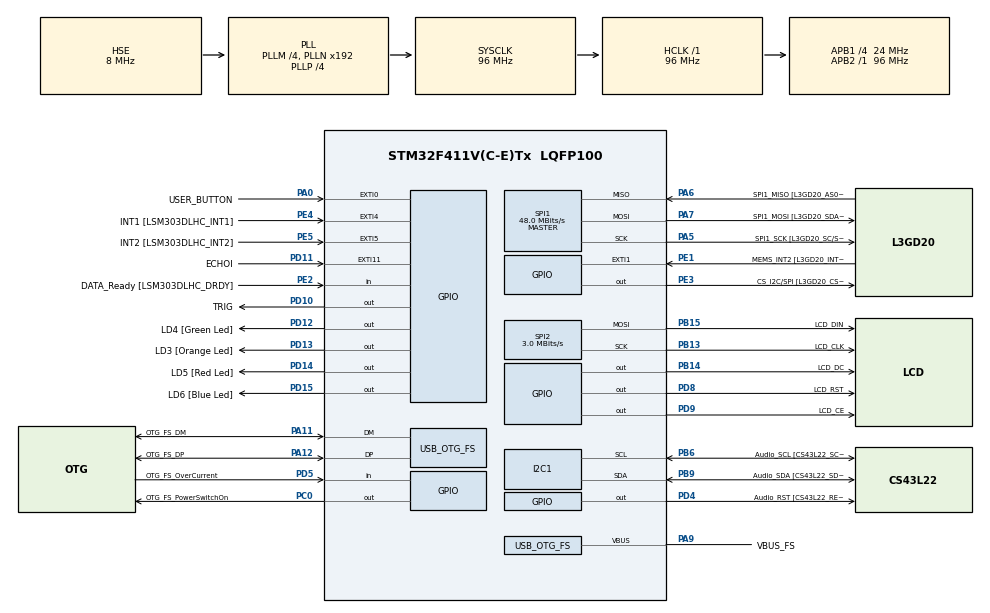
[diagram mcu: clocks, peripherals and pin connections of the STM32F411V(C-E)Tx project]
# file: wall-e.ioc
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Mcu.Family=STM32F4
Mcu.Name=STM32F411V(C-E)Tx
Mcu.Package=LQFP100
NVIC.EXTI0_IRQn=true\:0\:0\:false\:false\:true\:true\:true\:true
NVIC.EXTI15_10_IRQn=true\:0\:0\:false\:false\:true\:true\:true\:true
NVIC.OTG_FS_IRQn=true\:0\:0\:false\:false\:true\:true\:true\:true
NVIC.PriorityGroup=NVIC_PRIORITYGROUP_0
NVIC.TIM1_UP_TIM10_IRQn=true\:0\:0\:false\:false\:true\:true\:true\:true
PA0-WKUP.GPIO_Label=USER_BUTTON
PA0-WKUP.Signal=GPXTI0
PA10.GPIO_Label=OTG_FS_ID
PA10.Signal=USB_OTG_FS_ID
PA11.GPIO_Label=OTG_FS_DM
PA11.Mode=Host_Only
PA11.Signal=USB_OTG_FS_DM
PA12.GPIO_Label=OTG_FS_DP
PA12.Mode=Host_Only
PA12.Signal=USB_OTG_FS_DP
PA13.GPIO_Label=SWDIO
PA13.Mode=Serial_Wire
PA13.Signal=SYS_JTMS-SWDIO
PA14.GPIO_Label=SWCLK
PA14.Mode=Serial_Wire
PA14.Signal=SYS_JTCK-SWCLK
PA4.GPIO_Label=I2S3_WS [CS43L22_LRCK]
PA4.GPIO_Mode=GPIO_MODE_AF_PP
PA4.GPIO_PuPd=GPIO_NOPULL
PA4.GPIO_Speed=GPIO_SPEED_FREQ_LOW
PA4.Signal=I2S3_WS
PA5.GPIO_Label=SPI1_SCK [L3GD20_SC/SPC]
PA5.Mode=Full_Duplex_Master
PA5.Signal=SPI1_SCK
PA6.GPIO_Label=SPI1_MISO [L3GD20_AS0/SDO]
PA6.Mode=Full_Duplex_Master
PA6.Signal=SPI1_MISO
PA7.GPIO_Label=SPI1_MOSI [L3GD20_SDA/SDI/SDO]
PA7.Mode=Full_Duplex_Master
PA7.Signal=SPI1_MOSI
PA9.GPIO_Label=VBUS_FS
PA9.Mode=Activate_VBUS
PA9.Signal=USB_OTG_FS_VBUS
PB10.GPIO_Label=CLK_IN [MP45DT02_CLK]
PB10.Signal=I2S2_CK
PB12.Signal=I2S2_WS
PB13.GPIO_Label=LCD_CLK
PB13.Mode=TX_Only_Simplex_Unidirect_Master
PB13.Signal=SPI2_SCK
PB14.GPIO_Label=LCD_DC
PB14.Signal=GPIO_Output
PB15.GPIO_Label=LCD_DIN
PB15.Mode=TX_Only_Simplex_Unidirect_Master
PB15.Signal=SPI2_MOSI
PB3.GPIO_Label=SWO
PB3.Signal=SYS_JTDO-SWO
PB6.GPIO_Label=Audio_SCL [CS43L22_SCL]
PB6.GPIO_Mode=GPIO_MODE_AF_OD
PB6.GPIO_Pu=GPIO_PULLUP
PB6.GPIO_PuPd=GPIO_NOPULL
PB6.GPIO_Speed=GPIO_SPEED_FREQ_LOW
PB6.Mode=I2C
PB6.Signal=I2C1_SCL
PB9.GPIO_Label=Audio_SDA [CS43L22_SDA]
PB9.GPIO_Mode=GPIO_MODE_AF_OD
PB9.GPIO_Pu=GPIO_PULLUP
PB9.GPIO_PuPd=GPIO_NOPULL
PB9.GPIO_Speed=GPIO_SPEED_FREQ_LOW
PB9.Mode=I2C
PB9.Signal=I2C1_SDA
PC0.GPIO_Label=OTG_FS_PowerSwitchOn
PC0.PinState=GPIO_PIN_SET
PC0.Signal=GPIO_Output
PC10.GPIO_Label=I2S3_SCK [CS43L22_SCLK]
PC10.GPIO_Mode=GPIO_MODE_AF_PP
PC10.GPIO_PuPd=GPIO_NOPULL
PC10.GPIO_Speed=GPIO_SPEED_FREQ_LOW
PC10.Signal=I2S3_CK
PC12.GPIO_Label=I2S3_SD [CS43L22_SDIN]
PC12.GPIO_Mode=GPIO_MODE_AF_PP
PC12.GPIO_PuPd=GPIO_NOPULL
PC12.GPIO_Speed=GPIO_SPEED_FREQ_LOW
PC12.Signal=I2S3_SD
PC14-OSC32_IN.GPIO_Label=PC14-OSC32_IN
PC14-OSC32_IN.Mode=LSE-External-Oscillator
PC14-OSC32_IN.Signal=RCC_OSC32_IN
PC15-OSC32_OUT.GPIO_Label=PC15-OSC32_OUT
PC15-OSC32_OUT.Mode=LSE-External-Oscillator
PC15-OSC32_OUT.Signal=RCC_OSC32_OUT
PC3.GPIO_Label=PDM_OUT [MP45DT02_DOUT]
PC3.Signal=I2S2_SD
PC7.GPIO_Label=I2S3_MCK [CS43L22_MCLK]
PC7.GPIO_Mode=GPIO_MODE_AF_PP
PC7.GPIO_PuPd=GPIO_NOPULL
PC7.GPIO_Speed=GPIO_SPEED_FREQ_LOW
PC7.Signal=I2S3_MCK
PD10.GPIO_Label=TRIG
PD10.Signal=GPIO_Output
PD11.GPIO_Label=ECHOI
PD11.GPIO_ModeDefaultEXTI=GPIO_MODE_IT_RISING_FALLING
PD11.Signal=GPXTI11
PD12.GPIO_Label=LD4 [Green Led]
PD12.GPIO_PuPd=GPIO_NOPULL
PD12.GPIO_Speed=GPIO_SPEED_FREQ_LOW
PD12.Signal=GPIO_Output
PD13.GPIO_Label=LD3 [Orange Led]
PD13.GPIO_PuPd=GPIO_NOPULL
PD13.GPIO_Speed=GPIO_SPEED_FREQ_LOW
PD13.Signal=GPIO_Output
PD14.GPIO_Label=LD5 [Red Led]
PD14.GPIO_PuPd=GPIO_NOPULL
PD14.GPIO_Speed=GPIO_SPEED_FREQ_LOW
PD14.Signal=GPIO_Output
PD15.GPIO_Label=LD6 [Blue Led]
PD15.GPIO_PuPd=GPIO_NOPULL
PD15.GPIO_Speed=GPIO_SPEED_FREQ_LOW
PD15.Signal=GPIO_Output
PD4.GPIO_Label=Audio_RST [CS43L22_RESET]
PD4.Signal=GPIO_Output
PD5.GPIO_Label=OTG_FS_OverCurrent
PD5.Signal=GPIO_Input
PD8.GPIO_Label=LCD_RST
PD8.Signal=GPIO_Output
PD9.GPIO_Label=LCD_CE
PD9.Signal=GPIO_Output
PE1.GPIO_Label=MEMS_INT2 [L3GD20_INT2]
PE1.GPIO_ModeDefaultEXTI=GPIO_MODE_EVT_RISING
PE1.Signal=GPXTI1
PE2.GPIO_Label=DATA_Ready [LSM303DLHC_DRDY]
PE2.Signal=GPIO_Input
PE3.GPIO_Label=CS_I2C/SPI [L3GD20_CS_I2C/SPI]
PE3.Signal=GPIO_Output
PE4.GPIO_Label=INT1 [LSM303DLHC_INT1]
PE4.GPIO_ModeDefaultEXTI=GPIO_MODE_EVT_RISING
PE4.Signal=GPXTI4
PE5.GPIO_Label=INT2 [LSM303DLHC_INT2]
PE5.GPIO_ModeDefaultEXTI=GPIO_MODE_EVT_RISING
PE5.Signal=GPXTI5
PH0\ -\ OSC_IN.GPIO_Label=PH0-OSC_IN
PH0\ -\ OSC_IN.Mode=HSE-External-Oscillator
PH0\ -\ OSC_IN.Signal=RCC_OSC_IN
PH1\ -\ OSC_OUT.GPIO_Label=PH1-OSC_OUT
PH1\ -\ OSC_OUT.Mode=HSE-External-Oscillator
PH1\ -\ OSC_OUT.Signal=RCC_OSC_OUT
ProjectManager.HeapSize=0x200
ProjectManager.StackSize=0x400
ProjectManager.TargetToolchain=STM32CubeIDE
RCC.48MHZClocksFreq_Value=48000000
RCC.AHBFreq_Value=96000000
RCC.APB1CLKDivider=RCC_HCLK_DIV4
RCC.APB1Freq_Value=24000000
RCC.APB1TimFreq_Value=48000000
RCC.APB2Freq_Value=96000000
RCC.APB2TimFreq_Value=96000000
RCC.CortexFreq_Value=96000000
RCC.HCLKFreq_Value=96000000
RCC.HSE_VALUE=8000000
RCC.HSI_VALUE=16000000
RCC.PLLI2SM=5
RCC.PLLI2SN=200
RCC.PLLM=4
RCC.PLLP=RCC_PLLP_DIV4
RCC.PLLQ=8
RCC.SYSCLKFreq_VALUE=96000000
RCC.SYSCLKSource=RCC_SYSCLKSOURCE_PLLCLK
RCC.VCOOutputFreq_Value=384000000
SPI1.BaudRatePrescaler=SPI_BAUDRATEPRESCALER_2
SPI1.CalculateBaudRate=48.0 MBits/s
SPI1.Direction=SPI_DIRECTION_2LINES
SPI1.Mode=SPI_MODE_MASTER
SPI1.VirtualType=VM_MASTER
SPI2.BaudRatePrescaler=SPI_BAUDRATEPRESCALER_8
SPI2.CalculateBaudRate=3.0 MBits/s
SPI2.Direction=SPI_DIRECTION_2LINES
SPI2.Mode=SPI_MODE_MASTER
SPI2.VirtualType=VM_MASTER
TIM10.Period=10000
TIM10.Prescaler=96-1
USB_HOST.BSP.number=1
USB_HOST.USBH_HandleTypeDef=hUsbHostFS
USB_HOST.VirtualModeFS=Cdc
USB_HOST0.BSP.STBoard=false
USB_HOST0.BSP.api=Unknown
USB_HOST0.BSP.instance=PC0
USB_HOST0.BSP.ip=GPIO
USB_HOST0.BSP.mode=Output
USB_HOST0.BSP.name=Drive_VBUS_FS
USB_HOST0.BSP.solution=PC0
USB_OTG_FS.VirtualMode=Host_Only
USB_OTG_FS.phy_itface=HCD_PHY_EMBEDDED
VP_TIM10_VS_ClockSourceINT.Mode=Enable_Timer
VP_USB_HOST_VS_USB_HOST_CDC_FS.Mode=CDC_FS
board=STM32F411E-DISCO

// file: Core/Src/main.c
/* USER CODE BEGIN Header */
/**
  ******************************************************************************
  * @file           : main.c
  * @brief          : Main program body
  ******************************************************************************
  * @attention
  *
  * Copyright (c) 2022 STMicroelectronics.
  * All rights reserved.
  *
  * This software is licensed under terms that can be found in the LICENSE file
  * in the root directory of this software component.
  * If no LICENSE file comes with this software, it is provided AS-IS.
  *
  ******************************************************************************
  */
/* USER CODE END Header */
#include "main.h"
#include "usb_host.h"

/* USER CODE BEGIN Includes */
#include "lcd5110.h"
/* USER CODE END Includes */

/* USER CODE BEGIN PTD */
typedef enum state_t {
	IDLE_S,
	WAITING_FOR_ECHO_START_S,
	WAITING_FOR_ECHO_STOP_S,
	ECHO_TIMEOUT_S,
	READING_DATA_S,
	ERROR_S
} state_t;

typedef enum unit_t {
	MILLIMETERS,
	CENTIMETERS,
	METERS,
	INCHES
} unit_t;
/* USER CODE END PTD */

/* USER CODE BEGIN PD */
#define SystemCoreClockInMHz (SystemCoreClock/1000000)
#define COUNTER_PERIOD 10000
#define MEASURING_TIMEOUT_US 38000
#define TRIG_TIME_US 16
#define UPDATE_DELAY_US 500000
#define DEBOUNCE_THRESHOLD 50

#define ECHO_START_ERR_MSG "Unexpected error while waiting for ECHO to start.\n"
#define ECHO_STOP_ERR_MSG "Unexpected error while waiting for ECHO to stop.\n"
#define TIMEOUT_ERR_MSG "Too far or\nblocking\nobjects near the sensor"
/* USER CODE END PD */

I2C_HandleTypeDef hi2c1;

SPI_HandleTypeDef hspi1;
SPI_HandleTypeDef hspi2;

TIM_HandleTypeDef htim10;

/* USER CODE BEGIN PV */
volatile state_t state = IDLE_S;

volatile uint32_t echo_start;
volatile uint32_t echo_finish;
volatile uint32_t measured_time;

volatile uint32_t tim10_overflows = 0;

volatile int pressed = 0;
volatile unit_t unit = CENTIMETERS;
/* USER CODE END PV */

void SystemClock_Config(void);
static void MX_GPIO_Init(void);
static void MX_I2C1_Init(void);
static void MX_SPI1_Init(void);
static void MX_SPI2_Init(void);
static void MX_TIM10_Init(void);
void MX_USB_HOST_Process(void);

/* USER CODE BEGIN PFP */
void HAL_TIM_PeriodElapsedCallback(TIM_HandleTypeDef *htim);
inline void TIM10_reinit();
inline uint32_t get_tim10_us();
inline void udelay_TIM10(uint32_t useconds);

void HAL_GPIO_EXTI_Callback(uint16_t GPIO_Pin);
/* USER CODE END PFP */

/* USER CODE BEGIN 0 */
void HAL_TIM_PeriodElapsedCallback(TIM_HandleTypeDef *htim) {
	if (htim->Instance == TIM10) {
		++tim10_overflows;
	}
}

void TIM10_reinit() {
	HAL_TIM_Base_Stop(&htim10);
	__HAL_TIM_SET_PRESCALER(&htim10, (SystemCoreClockInMHz - 1));
	__HAL_TIM_SET_COUNTER(&htim10, 0);
	tim10_overflows = 0;
	HAL_TIM_Base_Start_IT(&htim10);
}

uint32_t get_tim10_us() {
	__HAL_TIM_DISABLE_IT(&htim10, TIM_IT_UPDATE);
	__disable_irq();
	uint32_t curr_time = tim10_overflows * COUNTER_PERIOD + __HAL_TIM_GET_COUNTER(&htim10);
	__enable_irq();
	__HAL_TIM_ENABLE_IT(&htim10, TIM_IT_UPDATE);

	return curr_time;
}

void udelay_TIM10(uint32_t useconds) {
	uint32_t start = get_tim10_us();
	while (get_tim10_us() < start + useconds) {}
}

void HAL_GPIO_EXTI_Callback(uint16_t GPIO_Pin) {
	if (GPIO_Pin == ECHOI_Pin) {
		switch (state) {
		case WAITING_FOR_ECHO_START_S: {
			echo_start =  get_tim10_us();
			state = WAITING_FOR_ECHO_STOP_S;
			break;
		}

		case WAITING_FOR_ECHO_STOP_S: {
			echo_finish = get_tim10_us();
			measured_time = echo_finish - echo_start;

			if (measured_time >= MEASURING_TIMEOUT_US) {
				state = ECHO_TIMEOUT_S;
				break;
			}

			state = READING_DATA_S;
			break;
		}

		default:
			state = ERROR_S;
		}

		return;
	}

	if (GPIO_Pin == USER_BUTTON_Pin) {
		static uint32_t last_tick;
		if (HAL_GetTick() - last_tick < DEBOUNCE_THRESHOLD) {
			return;
		}

		last_tick = HAL_GetTick();

		if (pressed) {
			unit = (unit_t)((unit + 1) % 4);
		}

		pressed = !pressed;

		return;
	}
}
/* USER CODE END 0 */

int main(void)
{
  /* USER CODE BEGIN 1 */
  inline void trig_sensor() {
	  HAL_GPIO_WritePin(TRIG_GPIO_Port, TRIG_Pin, GPIO_PIN_SET);
	  udelay_TIM10(TRIG_TIME_US);
	  HAL_GPIO_WritePin(TRIG_GPIO_Port, TRIG_Pin, GPIO_PIN_RESET);
  }

  inline uint32_t get_distance(uint32_t measured_time) {
      switch (unit) {
        case MILLIMETERS:
            return measured_time / 5.8;
        case CENTIMETERS:
            return measured_time / 58;
        case METERS:
            return measured_time / 5800;
        case INCHES:
            return measured_time / 148;
        default:
            return 0;
      }
  }

  inline char* get_unit_str() {
      switch (unit) {
        case MILLIMETERS:
            return "mm";
        case CENTIMETERS:
            return "cm";
        case METERS:
            return "m";
        case INCHES:
            return "in";
        default:
            return "unknwn";
      }
  }
  /* USER CODE END 1 */

  /* MCU Configuration--------------------------------------------------------*/

  /* Reset of all peripherals, Initializes the Flash interface and the Systick. */
  HAL_Init();

  /* Configure the system clock */
  SystemClock_Config();

  /* Initialize all configured peripherals */
  MX_GPIO_Init();
  MX_I2C1_Init();
  MX_SPI1_Init();
  MX_USB_HOST_Init();
  MX_SPI2_Init();
  MX_TIM10_Init();
  /* USER CODE BEGIN 2 */
  // Display configuration
  LCD5110_display lcd1;

  lcd1.hw_conf.spi_handle = &hspi2;
  lcd1.hw_conf.spi_cs_pin =  LCD_CE_Pin;
  lcd1.hw_conf.spi_cs_port = LCD_CE_GPIO_Port;
  lcd1.hw_conf.rst_pin =  LCD_RST_Pin;
  lcd1.hw_conf.rst_port = LCD_RST_GPIO_Port;
  lcd1.hw_conf.dc_pin =  LCD_DC_Pin;
  lcd1.hw_conf.dc_port = LCD_DC_GPIO_Port;
  lcd1.def_scr = lcd5110_def_scr;

  LCD5110_init(&lcd1.hw_conf, LCD5110_NORMAL_MODE, 0x40, 2, 3);

  // Timer initialization
  TIM10_reinit();
  /* USER CODE END 2 */

  /* Infinite loop */
  /* USER CODE BEGIN WHILE */
  while (1)
  {
	  trig_sensor();

	  state = WAITING_FOR_ECHO_START_S;

	  while (state == WAITING_FOR_ECHO_START_S && state != ERROR_S) {}

	  if (state == ERROR_S) {
		  LCD5110_clear_scr(&lcd1);
		  LCD5110_printf(&lcd1, BLACK, ECHO_START_ERR_MSG);
		  continue;
	  }

	  while (state == WAITING_FOR_ECHO_STOP_S && state != ERROR_S) {}

	  if (state == ERROR_S) {
		  LCD5110_clear_scr(&lcd1);
		  LCD5110_printf(&lcd1, BLACK, ECHO_STOP_ERR_MSG);
		  continue;
	  }

	  if (state == ECHO_TIMEOUT_S) {
		  LCD5110_clear_scr(&lcd1);
		  LCD5110_printf(&lcd1, BLACK, TIMEOUT_ERR_MSG);

	  }

	  if (state == READING_DATA_S) {
          HAL_NVIC_DisableIRQ(EXTI15_10_IRQn);
          uint32_t current_measured_time = measured_time;
          HAL_NVIC_EnableIRQ(EXTI15_10_IRQn);
		  LCD5110_clear_scr(&lcd1);
		  LCD5110_printf(&lcd1, BLACK, "Distance:\n%lu %s",
				  get_distance(current_measured_time),
				  get_unit_str());
	  }

	  udelay_TIM10(UPDATE_DELAY_US);

    /* USER CODE END WHILE */
    MX_USB_HOST_Process();

  }
}

void SystemClock_Config(void)
{
  RCC_OscInitTypeDef RCC_OscInitStruct = {0};
  RCC_ClkInitTypeDef RCC_ClkInitStruct = {0};

  /** Configure the main internal regulator output voltage
  */
  __HAL_RCC_PWR_CLK_ENABLE();
  __HAL_PWR_VOLTAGESCALING_CONFIG(PWR_REGULATOR_VOLTAGE_SCALE1);

  /** Initializes the RCC Oscillators according to the specified parameters
  * in the RCC_OscInitTypeDef structure.
  */
  RCC_OscInitStruct.OscillatorType = RCC_OSCILLATORTYPE_HSE;
  RCC_OscInitStruct.HSEState = RCC_HSE_ON;
  RCC_OscInitStruct.PLL.PLLState = RCC_PLL_ON;
  RCC_OscInitStruct.PLL.PLLSource = RCC_PLLSOURCE_HSE;
  RCC_OscInitStruct.PLL.PLLM = 4;
  RCC_OscInitStruct.PLL.PLLN = 192;
  RCC_OscInitStruct.PLL.PLLP = RCC_PLLP_DIV4;
  RCC_OscInitStruct.PLL.PLLQ = 8;
  if (HAL_RCC_OscConfig(&RCC_OscInitStruct) != HAL_OK)
  {
    Error_Handler();
  }

  /** Initializes the CPU, AHB and APB buses clocks
  */
  RCC_ClkInitStruct.ClockType = RCC_CLOCKTYPE_HCLK|RCC_CLOCKTYPE_SYSCLK
                              |RCC_CLOCKTYPE_PCLK1|RCC_CLOCKTYPE_PCLK2;
  RCC_ClkInitStruct.SYSCLKSource = RCC_SYSCLKSOURCE_PLLCLK;
  RCC_ClkInitStruct.AHBCLKDivider = RCC_SYSCLK_DIV1;
  RCC_ClkInitStruct.APB1CLKDivider = RCC_HCLK_DIV4;
  RCC_ClkInitStruct.APB2CLKDivider = RCC_HCLK_DIV1;

  if (HAL_RCC_ClockConfig(&RCC_ClkInitStruct, FLASH_LATENCY_3) != HAL_OK)
  {
    Error_Handler();
  }
}

static void MX_I2C1_Init(void)
{

  hi2c1.Instance = I2C1;
  hi2c1.Init.ClockSpeed = 100000;
  hi2c1.Init.DutyCycle = I2C_DUTYCYCLE_2;
  hi2c1.Init.OwnAddress1 = 0;
  hi2c1.Init.AddressingMode = I2C_ADDRESSINGMODE_7BIT;
  hi2c1.Init.DualAddressMode = I2C_DUALADDRESS_DISABLE;
  hi2c1.Init.OwnAddress2 = 0;
  hi2c1.Init.GeneralCallMode = I2C_GENERALCALL_DISABLE;
  hi2c1.Init.NoStretchMode = I2C_NOSTRETCH_DISABLE;
  if (HAL_I2C_Init(&hi2c1) != HAL_OK)
  {
    Error_Handler();
  }

}

static void MX_SPI1_Init(void)
{

  /* SPI1 parameter configuration*/
  hspi1.Instance = SPI1;
  hspi1.Init.Mode = SPI_MODE_MASTER;
  hspi1.Init.Direction = SPI_DIRECTION_2LINES;
  hspi1.Init.DataSize = SPI_DATASIZE_8BIT;
  hspi1.Init.CLKPolarity = SPI_POLARITY_LOW;
  hspi1.Init.CLKPhase = SPI_PHASE_1EDGE;
  hspi1.Init.NSS = SPI_NSS_SOFT;
  hspi1.Init.BaudRatePrescaler = SPI_BAUDRATEPRESCALER_2;
  hspi1.Init.FirstBit = SPI_FIRSTBIT_MSB;
  hspi1.Init.TIMode = SPI_TIMODE_DISABLE;
  hspi1.Init.CRCCalculation = SPI_CRCCALCULATION_DISABLE;
  hspi1.Init.CRCPolynomial = 10;
  if (HAL_SPI_Init(&hspi1) != HAL_OK)
  {
    Error_Handler();
  }

}

static void MX_SPI2_Init(void)
{

  /* SPI2 parameter configuration*/
  hspi2.Instance = SPI2;
  hspi2.Init.Mode = SPI_MODE_MASTER;
  hspi2.Init.Direction = SPI_DIRECTION_2LINES;
  hspi2.Init.DataSize = SPI_DATASIZE_8BIT;
  hspi2.Init.CLKPolarity = SPI_POLARITY_LOW;
  hspi2.Init.CLKPhase = SPI_PHASE_1EDGE;
  hspi2.Init.NSS = SPI_NSS_SOFT;
  hspi2.Init.BaudRatePrescaler = SPI_BAUDRATEPRESCALER_8;
  hspi2.Init.FirstBit = SPI_FIRSTBIT_MSB;
  hspi2.Init.TIMode = SPI_TIMODE_DISABLE;
  hspi2.Init.CRCCalculation = SPI_CRCCALCULATION_DISABLE;
  hspi2.Init.CRCPolynomial = 10;
  if (HAL_SPI_Init(&hspi2) != HAL_OK)
  {
    Error_Handler();
  }

}

static void MX_TIM10_Init(void)
{

  htim10.Instance = TIM10;
  htim10.Init.Prescaler = 96-1;
  htim10.Init.CounterMode = TIM_COUNTERMODE_UP;
  htim10.Init.Period = 10000;
  htim10.Init.ClockDivision = TIM_CLOCKDIVISION_DIV1;
  htim10.Init.AutoReloadPreload = TIM_AUTORELOAD_PRELOAD_DISABLE;
  if (HAL_TIM_Base_Init(&htim10) != HAL_OK)
  {
    Error_Handler();
  }

}

static void MX_GPIO_Init(void)
{
  GPIO_InitTypeDef GPIO_InitStruct = {0};

  /* GPIO Ports Clock Enable */
  __HAL_RCC_GPIOE_CLK_ENABLE();
  __HAL_RCC_GPIOC_CLK_ENABLE();
  __HAL_RCC_GPIOH_CLK_ENABLE();
  __HAL_RCC_GPIOA_CLK_ENABLE();
  __HAL_RCC_GPIOB_CLK_ENABLE();
  __HAL_RCC_GPIOD_CLK_ENABLE();

  /*Configure GPIO pin Output Level */
  HAL_GPIO_WritePin(CS_I2C_SPI_GPIO_Port, CS_I2C_SPI_Pin, GPIO_PIN_RESET);

  /*Configure GPIO pin Output Level */
  HAL_GPIO_WritePin(OTG_FS_PowerSwitchOn_GPIO_Port, OTG_FS_PowerSwitchOn_Pin, GPIO_PIN_SET);

  /*Configure GPIO pin Output Level */
  HAL_GPIO_WritePin(LCD_DC_GPIO_Port, LCD_DC_Pin, GPIO_PIN_RESET);

  /*Configure GPIO pin Output Level */
  HAL_GPIO_WritePin(GPIOD, LCD_RST_Pin|LCD_CE_Pin|TRIG_Pin|LD4_Pin
                          |LD3_Pin|LD5_Pin|LD6_Pin|Audio_RST_Pin, GPIO_PIN_RESET);

  /*Configure GPIO pin : DATA_Ready_Pin */
  GPIO_InitStruct.Pin = DATA_Ready_Pin;
  GPIO_InitStruct.Mode = GPIO_MODE_INPUT;
  GPIO_InitStruct.Pull = GPIO_NOPULL;
  HAL_GPIO_Init(DATA_Ready_GPIO_Port, &GPIO_InitStruct);

  /*Configure GPIO pin : CS_I2C_SPI_Pin */
  GPIO_InitStruct.Pin = CS_I2C_SPI_Pin;
  GPIO_InitStruct.Mode = GPIO_MODE_OUTPUT_PP;
  GPIO_InitStruct.Pull = GPIO_NOPULL;
  GPIO_InitStruct.Speed = GPIO_SPEED_FREQ_LOW;
  HAL_GPIO_Init(CS_I2C_SPI_GPIO_Port, &GPIO_InitStruct);

  /*Configure GPIO pins : INT1_Pin INT2_Pin MEMS_INT2_Pin */
  GPIO_InitStruct.Pin = INT1_Pin|INT2_Pin|MEMS_INT2_Pin;
  GPIO_InitStruct.Mode = GPIO_MODE_EVT_RISING;
  GPIO_InitStruct.Pull = GPIO_NOPULL;
  HAL_GPIO_Init(GPIOE, &GPIO_InitStruct);

  /*Configure GPIO pin : OTG_FS_PowerSwitchOn_Pin */
  GPIO_InitStruct.Pin = OTG_FS_PowerSwitchOn_Pin;
  GPIO_InitStruct.Mode = GPIO_MODE_OUTPUT_PP;
  GPIO_InitStruct.Pull = GPIO_NOPULL;
  GPIO_InitStruct.Speed = GPIO_SPEED_FREQ_LOW;
  HAL_GPIO_Init(OTG_FS_PowerSwitchOn_GPIO_Port, &GPIO_InitStruct);

  /*Configure GPIO pin : PDM_OUT_Pin */
  GPIO_InitStruct.Pin = PDM_OUT_Pin;
  GPIO_InitStruct.Mode = GPIO_MODE_AF_PP;
  GPIO_InitStruct.Pull = GPIO_NOPULL;
  GPIO_InitStruct.Speed = GPIO_SPEED_FREQ_LOW;
  GPIO_InitStruct.Alternate = GPIO_AF5_SPI2;
  HAL_GPIO_Init(PDM_OUT_GPIO_Port, &GPIO_InitStruct);

  /*Configure GPIO pin : USER_BUTTON_Pin */
  GPIO_InitStruct.Pin = USER_BUTTON_Pin;
  GPIO_InitStruct.Mode = GPIO_MODE_IT_RISING;
  GPIO_InitStruct.Pull = GPIO_NOPULL;
  HAL_GPIO_Init(USER_BUTTON_GPIO_Port, &GPIO_InitStruct);

  /*Configure GPIO pin : I2S3_WS_Pin */
  GPIO_InitStruct.Pin = I2S3_WS_Pin;
  GPIO_InitStruct.Mode = GPIO_MODE_AF_PP;
  GPIO_InitStruct.Pull = GPIO_NOPULL;
  GPIO_InitStruct.Speed = GPIO_SPEED_FREQ_LOW;
  GPIO_InitStruct.Alternate = GPIO_AF6_SPI3;
  HAL_GPIO_Init(I2S3_WS_GPIO_Port, &GPIO_InitStruct);

  /*Configure GPIO pins : CLK_IN_Pin PB12 */
  GPIO_InitStruct.Pin = CLK_IN_Pin|GPIO_PIN_12;
  GPIO_InitStruct.Mode = GPIO_MODE_AF_PP;
  GPIO_InitStruct.Pull = GPIO_NOPULL;
  GPIO_InitStruct.Speed = GPIO_SPEED_FREQ_LOW;
  GPIO_InitStruct.Alternate = GPIO_AF5_SPI2;
  HAL_GPIO_Init(GPIOB, &GPIO_InitStruct);

  /*Configure GPIO pin : LCD_DC_Pin */
  GPIO_InitStruct.Pin = LCD_DC_Pin;
  GPIO_InitStruct.Mode = GPIO_MODE_OUTPUT_PP;
  GPIO_InitStruct.Pull = GPIO_NOPULL;
  GPIO_InitStruct.Speed = GPIO_SPEED_FREQ_LOW;
  HAL_GPIO_Init(LCD_DC_GPIO_Port, &GPIO_InitStruct);

  /*Configure GPIO pins : LCD_RST_Pin LCD_CE_Pin TRIG_Pin LD4_Pin
                           LD3_Pin LD5_Pin LD6_Pin Audio_RST_Pin */
  GPIO_InitStruct.Pin = LCD_RST_Pin|LCD_CE_Pin|TRIG_Pin|LD4_Pin
                          |LD3_Pin|LD5_Pin|LD6_Pin|Audio_RST_Pin;
  GPIO_InitStruct.Mode = GPIO_MODE_OUTPUT_PP;
  GPIO_InitStruct.Pull = GPIO_NOPULL;
  GPIO_InitStruct.Speed = GPIO_SPEED_FREQ_LOW;
  HAL_GPIO_Init(GPIOD, &GPIO_InitStruct);

  /*Configure GPIO pin : ECHOI_Pin */
  GPIO_InitStruct.Pin = ECHOI_Pin;
  GPIO_InitStruct.Mode = GPIO_MODE_IT_RISING_FALLING;
  GPIO_InitStruct.Pull = GPIO_NOPULL;
  HAL_GPIO_Init(ECHOI_GPIO_Port, &GPIO_InitStruct);

  /*Configure GPIO pins : I2S3_MCK_Pin I2S3_SCK_Pin I2S3_SD_Pin */
  GPIO_InitStruct.Pin = I2S3_MCK_Pin|I2S3_SCK_Pin|I2S3_SD_Pin;
  GPIO_InitStruct.Mode = GPIO_MODE_AF_PP;
  GPIO_InitStruct.Pull = GPIO_NOPULL;
  GPIO_InitStruct.Speed = GPIO_SPEED_FREQ_LOW;
  GPIO_InitStruct.Alternate = GPIO_AF6_SPI3;
  HAL_GPIO_Init(GPIOC, &GPIO_InitStruct);

  /*Configure GPIO pin : OTG_FS_OverCurrent_Pin */
  GPIO_InitStruct.Pin = OTG_FS_OverCurrent_Pin;
  GPIO_InitStruct.Mode = GPIO_MODE_INPUT;
  GPIO_InitStruct.Pull = GPIO_NOPULL;
  HAL_GPIO_Init(OTG_FS_OverCurrent_GPIO_Port, &GPIO_InitStruct);

  /* EXTI interrupt init*/
  HAL_NVIC_SetPriority(EXTI0_IRQn, 0, 0);
  HAL_NVIC_EnableIRQ(EXTI0_IRQn);

  HAL_NVIC_SetPriority(EXTI15_10_IRQn, 0, 0);
  HAL_NVIC_EnableIRQ(EXTI15_10_IRQn);

}

void Error_Handler(void)
{
  __disable_irq();
  while (1)
  {
  }
}
